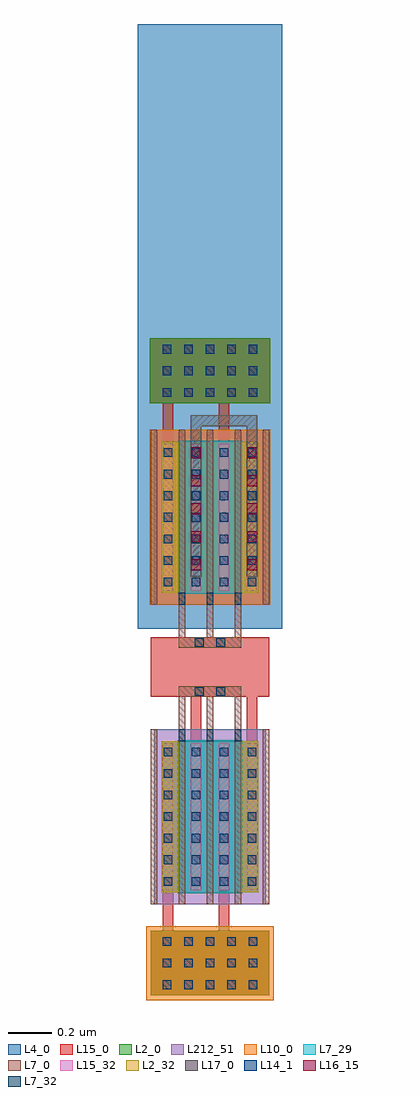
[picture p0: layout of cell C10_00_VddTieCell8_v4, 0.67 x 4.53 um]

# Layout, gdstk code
import gdstk
lib = gdstk.Library(unit=1e-6, precision=1e-09)
def R(c, l, rs):  # rectangles x0, y0, x1, y1
    for r in rs: c.add(gdstk.rectangle(r[:2], r[2:], *l))
def A(c, l, x, y, w, h, nx, ny, dx, dy):  # array of equal rectangles
    R(c, l, [(x+i*dx, y+j*dy, x+i*dx+w, y+j*dy+h) for i in range(nx) for j in range(ny)])
L2_0 = (2, 0)
L2_32 = (2, 32)
L4_0 = (4, 0)
L7_0 = (7, 0)
L7_29 = (7, 29)
L7_32 = (7, 32)
L10_0 = (10, 0)
L14_1 = (14, 1)
L15_0 = (15, 0)
L15_32 = (15, 32)
L16_15 = (16, 15)
L17_0 = (17, 0)
L212_51 = (212, 51)

c10_00_vddtiecell8_v4_sr = lib.new_cell('C10_00_VddTieCell8_v4:SRF_TieCellNMOSRouted:SRF_Nmos:SRF_Gate_ViaM0Mx:SRF_ViaM0M1')
R(c10_00_vddtiecell8_v4_sr, L7_0, [(-0.01,-0.004,0.15,0.044)])
R(c10_00_vddtiecell8_v4_sr, L14_1, [(0,0,0.04,0.04), (0.1,0,0.14,0.04)])
R(c10_00_vddtiecell8_v4_sr, L15_0, [(-0.021,-0.005,0.161,0.045)])

c_c10_00_vddtiecell8_v4_sr = lib.new_cell('C10_00_VddTieCell8_v4:SRF_TieCellNMOSRouted:SRF_Nmos:SRF_Gate_ViaM0Mx')
c_c10_00_vddtiecell8_v4_sr.add(gdstk.Reference(c10_00_vddtiecell8_v4_sr, (-0.07,-0.02)))

c_c10_00_vddtiecell8_v4_sr_ = lib.new_cell('C10_00_VddTieCell8_v4:SRF_TieCellNMOSRouted:SRF_Nmos')
R(c_c10_00_vddtiecell8_v4_sr_, L2_0, [(-0.078,0.057,0.368,0.757)])
R(c_c10_00_vddtiecell8_v4_sr_, L2_32, [(-0.078,0.057,0,0.757), (0.29,0.057,0.368,0.757)])
A(c_c10_00_vddtiecell8_v4_sr_, L7_0, -0.13, 0, 0.03, 0.814, 5, 1, 0.13, 0)
A(c_c10_00_vddtiecell8_v4_sr_, L7_0, 0, 0.814, 0.03, 0.15, 3, 1, 0.13, 0)
R(c_c10_00_vddtiecell8_v4_sr_, L7_0, [(0,0.964,0.29,1.012)])
R(c_c10_00_vddtiecell8_v4_sr_, L7_29, [(-0.005,0.052,0.295,0.762)])
A(c_c10_00_vddtiecell8_v4_sr_, L7_32, 0, 0.757, 0.03, 0.057, 3, 1, 0.13, 0)
A(c_c10_00_vddtiecell8_v4_sr_, L14_1, -0.07, 0.087, 0.04, 0.04, 4, 7, 0.13, 0.1)
R(c_c10_00_vddtiecell8_v4_sr_, L15_0, [(-0.075,0.066,-0.025,0.748), (-0.075,0.066,-0.025,0.748), (0.055,0.066,0.105,0.748), (0.055,0.066,0.105,0.748), (0.185,0.066,0.235,0.748), (0.185,0.066,0.235,0.748), (0.315,0.066,0.365,0.748), (0.315,0.066,0.365,0.748), (0,0.963,0.29,1.013)])
A(c_c10_00_vddtiecell8_v4_sr_, L15_32, -0.075, 0.066, 0.05, 0.682, 4, 1, 0.13, 0)
R(c_c10_00_vddtiecell8_v4_sr_, L212_51, [(-0.113,0.001,0.403,0.813)])
c_c10_00_vddtiecell8_v4_sr_.add(gdstk.Reference(c_c10_00_vddtiecell8_v4_sr, (0.145,0.988)))

c_c10_00_vddtiecell8_v4_sr__ = lib.new_cell('C10_00_VddTieCell8_v4:SRF_TieCellNMOSRouted')
c_c10_00_vddtiecell8_v4_sr__.add(gdstk.Reference(c_c10_00_vddtiecell8_v4_sr_, (0,0)))

c_c10_00_vddtiecell8_v4_sr___ = lib.new_cell('C10_00_VddTieCell8_v4:SRF_TieCellPMOSRouted:SRF_Pmos:SRF_Drain_ViaM1M2:SRF_ViaM1M2')
R(c_c10_00_vddtiecell8_v4_sr___, L15_0, [(0,-0.552,0.05,0.082)])
A(c_c10_00_vddtiecell8_v4_sr___, L16_15, 0, -0.52, 0.05, 0.05, 1, 5, 0, 0.13)
R(c_c10_00_vddtiecell8_v4_sr___, L17_0, [(0,-0.552,0.05,0.082)])

c_c10_00_vddtiecell8_v4_sr____ = lib.new_cell('C10_00_VddTieCell8_v4:SRF_TieCellPMOSRouted:SRF_Pmos:SRF_Drain_ViaM1M2')
c_c10_00_vddtiecell8_v4_sr____.add(gdstk.Reference(c_c10_00_vddtiecell8_v4_sr___, (-0.025,0.235)))

c_c10_00_vddtiecell8_v4_sr_____ = lib.new_cell('C10_00_VddTieCell8_v4:SRF_TieCellPMOSRouted:SRF_Pmos:SRF_Gate_ViaM0Mx:SRF_ViaM0M1')
R(c_c10_00_vddtiecell8_v4_sr_____, L7_0, [(-0.01,-0.004,0.15,0.044)])
R(c_c10_00_vddtiecell8_v4_sr_____, L14_1, [(0,0,0.04,0.04), (0.1,0,0.14,0.04)])
R(c_c10_00_vddtiecell8_v4_sr_____, L15_0, [(-0.021,-0.005,0.161,0.045)])

c_c10_00_vddtiecell8_v4_sr______ = lib.new_cell('C10_00_VddTieCell8_v4:SRF_TieCellPMOSRouted:SRF_Pmos:SRF_Gate_ViaM0Mx')
c_c10_00_vddtiecell8_v4_sr______.add(gdstk.Reference(c_c10_00_vddtiecell8_v4_sr_____, (-0.07,-0.02)))

c_c10_00_vddtiecell8_v4_sr_______ = lib.new_cell('C10_00_VddTieCell8_v4:SRF_TieCellPMOSRouted:SRF_Pmos')
R(c_c10_00_vddtiecell8_v4_sr_______, L2_0, [(-0.078,0.057,0.368,0.757)])
R(c_c10_00_vddtiecell8_v4_sr_______, L2_32, [(-0.078,0.057,0,0.757), (0.29,0.057,0.368,0.757)])
A(c_c10_00_vddtiecell8_v4_sr_______, L7_0, 0, -0.15, 0.03, 0.15, 3, 1, 0.13, 0)
A(c_c10_00_vddtiecell8_v4_sr_______, L7_0, -0.13, 0, 0.03, 0.814, 5, 1, 0.13, 0)
R(c_c10_00_vddtiecell8_v4_sr_______, L7_0, [(0,-0.198,0.29,-0.15)])
R(c_c10_00_vddtiecell8_v4_sr_______, L7_29, [(-0.005,0.052,0.295,0.762)])
A(c_c10_00_vddtiecell8_v4_sr_______, L7_32, 0, 0, 0.03, 0.057, 3, 1, 0.13, 0)
R(c_c10_00_vddtiecell8_v4_sr_______, L10_0, [(-0.134,0.001,0.424,0.813)])
A(c_c10_00_vddtiecell8_v4_sr_______, L14_1, -0.07, 0.087, 0.04, 0.04, 4, 7, 0.13, 0.1)
R(c_c10_00_vddtiecell8_v4_sr_______, L15_0, [(0,-0.199,0.29,-0.149), (-0.075,0.066,-0.025,0.748), (-0.075,0.066,-0.025,0.748), (0.055,0.066,0.105,0.748), (0.055,0.066,0.105,0.748), (0.185,0.066,0.235,0.748), (0.185,0.066,0.235,0.748), (0.315,0.066,0.365,0.748), (0.315,0.066,0.365,0.748)])
A(c_c10_00_vddtiecell8_v4_sr_______, L15_32, -0.075, 0.066, 0.05, 0.682, 4, 1, 0.13, 0)
R(c_c10_00_vddtiecell8_v4_sr_______, L17_0, [(0.055,0.13,0.105,0.83), (0.315,0.13,0.365,0.83), (0.055,0.83,0.365,0.88)])
R(c_c10_00_vddtiecell8_v4_sr_______, L212_51, [(-0.113,0.001,0.403,0.813)])
c_c10_00_vddtiecell8_v4_sr_______.add(gdstk.Reference(c_c10_00_vddtiecell8_v4_sr____, (0.08,0.447)))
c_c10_00_vddtiecell8_v4_sr_______.add(gdstk.Reference(c_c10_00_vddtiecell8_v4_sr____, (0.34,0.447)))
c_c10_00_vddtiecell8_v4_sr_______.add(gdstk.Reference(c_c10_00_vddtiecell8_v4_sr______, (0.145,-0.174)))

c_c10_00_vddtiecell8_v4_sr________ = lib.new_cell('C10_00_VddTieCell8_v4:SRF_TieCellPMOSRouted')
c_c10_00_vddtiecell8_v4_sr________.add(gdstk.Reference(c_c10_00_vddtiecell8_v4_sr_______, (0,0)))

c_c10_00_vddtiecell8_v4_sr_________ = lib.new_cell('C10_00_VddTieCell8_v4:SRF_PMOS_Body_Contact:SRF_NbodyContactPhyLen')
R(c_c10_00_vddtiecell8_v4_sr_________, L2_0, [(-0.059,-0.23,0.499,0.07)])
R(c_c10_00_vddtiecell8_v4_sr_________, L4_0, [(-0.115,-0.286,0.555,0.126)])
A(c_c10_00_vddtiecell8_v4_sr_________, L14_1, 0, -0.2, 0.04, 0.04, 5, 3, 0.1, 0.1)
R(c_c10_00_vddtiecell8_v4_sr_________, L15_0, [(-0.059,-0.23,0.499,0.07)])

c_c10_00_vddtiecell8_v4_sr__________ = lib.new_cell('C10_00_VddTieCell8_v4:SRF_PMOS_Body_Contact')
c_c10_00_vddtiecell8_v4_sr__________.add(gdstk.Reference(c_c10_00_vddtiecell8_v4_sr_________, (0,0)))

c_c10_00_vddtiecell8_v4_sr___________ = lib.new_cell('C10_00_VddTieCell8_v4:SRF_NMOS_Body_Contact:SRF_PbodyContactPhyLen')
R(c_c10_00_vddtiecell8_v4_sr___________, L2_0, [(-0.055,-0.23,0.495,0.07)])
R(c_c10_00_vddtiecell8_v4_sr___________, L10_0, [(-0.076,-0.251,0.516,0.091)])
A(c_c10_00_vddtiecell8_v4_sr___________, L14_1, 0, -0.2, 0.04, 0.04, 5, 3, 0.1, 0.1)
R(c_c10_00_vddtiecell8_v4_sr___________, L15_0, [(-0.055,-0.23,0.495,0.07)])

c_c10_00_vddtiecell8_v4_sr____________ = lib.new_cell('C10_00_VddTieCell8_v4:SRF_NMOS_Body_Contact')
c_c10_00_vddtiecell8_v4_sr____________.add(gdstk.Reference(c_c10_00_vddtiecell8_v4_sr___________, (0,0)))

c10_00_vddtiecell8_v4 = lib.new_cell('C10_00_VddTieCell8_v4')
R(c10_00_vddtiecell8_v4, L4_0, [(-0.19,1.279,0.48,2.271), (-0.19,1.279,0.48,4.087)])
R(c10_00_vddtiecell8_v4, L15_0, [(-0.075,-0.123,-0.025,0.066), (0.185,-0.123,0.235,0.066), (0.055,0.748,0.105,0.963), (0.315,0.748,0.365,0.963), (-0.075,2.138,-0.025,2.327), (0.185,2.138,0.235,2.327)])
c10_00_vddtiecell8_v4.add(gdstk.FlexPath([(0.145,1.241),(0.145,0.963)], 0.55, ends="flush", simple_path=True, layer=15, datatype=0))  # L15_0
c10_00_vddtiecell8_v4.add(gdstk.Reference(c_c10_00_vddtiecell8_v4_sr__, (0,0)))
c10_00_vddtiecell8_v4.add(gdstk.Reference(c_c10_00_vddtiecell8_v4_sr________, (0,1.39)))
c10_00_vddtiecell8_v4.add(gdstk.Reference(c_c10_00_vddtiecell8_v4_sr__________, (-0.075,2.557)))
c10_00_vddtiecell8_v4.add(gdstk.Reference(c_c10_00_vddtiecell8_v4_sr____________, (-0.075,-0.193)))

lib.write_gds('C10_00_VddTieCell8_v4.gds')
